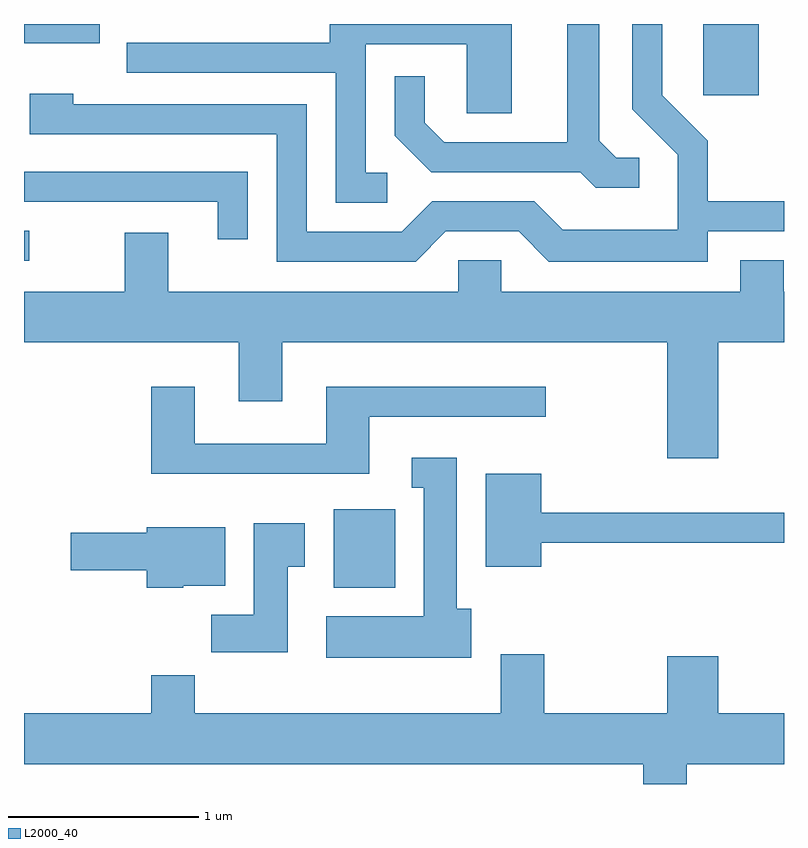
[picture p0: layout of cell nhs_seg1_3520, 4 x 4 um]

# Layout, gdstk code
import gdstk
lib = gdstk.Library(unit=1e-6, precision=1e-09)
def R(c, l, rs):  # rectangles x0, y0, x1, y1
    for r in rs: c.add(gdstk.rectangle(r[:2], r[2:], *l))
def P(c, l, *ps):  # polygons
    for p in ps: c.add(gdstk.Polygon(p, *l))
L2000_40 = (2000, 40)

nhs_seg1_3520 = lib.new_cell('nhs_seg1_3520')
R(nhs_seg1_3520, L2000_40, [(293.241,882.746,293.564,883.159), (291.611,884.466,291.638,884.624), (295.186,885.336,295.479,885.712), (291.611,885.611,292.009,885.712)])
P(nhs_seg1_3520, L2000_40, [(294.848,885.009),(294.727,885.009),(294.639,885.097),(294.639,885.712),(294.471,885.712),(294.471,885.089),(293.822,885.089),(293.719,885.192),(293.719,885.438),(293.561,885.438),(293.561,885.124),(293.754,884.931),(294.539,884.931),(294.619,884.851),(294.848,884.851)],
  [(293.523,884.929),(293.409,884.929),(293.409,885.606),(293.941,885.606),(293.941,885.241),(294.179,885.241),(294.179,885.712),(293.221,885.712),(293.221,885.614),(292.153,885.614),(292.153,885.456),(293.251,885.456),(293.251,884.771),(293.523,884.771)],
  [(293.832,884.621),(294.214,884.621),(294.374,884.461),(295.209,884.461),(295.209,884.621),(295.611,884.621),(295.611,884.779),(295.209,884.779),(295.209,885.097),(294.969,885.337),(294.969,885.712),(294.811,885.712),(294.811,885.264),(295.051,885.024),(295.051,884.629),(294.447,884.629),(294.297,884.779),(293.759,884.779),(293.599,884.619),(293.099,884.619),(293.099,885.289),(291.869,885.289),(291.869,885.344),(291.641,885.344),(291.641,885.131),(292.941,885.131),(292.941,884.461),(293.672,884.461)],
  [(292.789,884.934),(291.611,884.934),(291.611,884.776),(292.631,884.776),(292.631,884.578),(292.789,884.578)],
  [(295.264,884.036),(295.611,884.036),(295.611,884.304),(295.609,884.304),(295.609,884.469),(295.381,884.469),(295.381,884.304),(294.124,884.304),(294.124,884.469),(293.896,884.469),(293.896,884.304),(292.369,884.304),(292.369,884.614),(292.141,884.614),(292.141,884.304),(291.611,884.304),(291.611,884.036),(292.741,884.036),(292.741,883.726),(292.969,883.726),(292.969,884.036),(294.996,884.036),(294.996,883.426),(295.264,883.426)],
  [(293.429,883.646),(294.358,883.646),(294.358,883.804),(293.201,883.804),(293.201,883.504),(292.509,883.504),(292.509,883.804),(292.281,883.804),(292.281,883.346),(293.429,883.346)],
  [(293.964,882.634),(293.889,882.634),(293.889,883.429),(293.653,883.429),(293.653,883.271),(293.716,883.271),(293.716,882.594),(293.201,882.594),(293.201,882.376),(293.964,882.376)],
  [(294.334,882.981),(295.611,882.981),(295.611,883.139),(294.334,883.139),(294.334,883.344),(294.041,883.344),(294.041,882.856),(294.334,882.856)],
  [(292.999,882.856),(293.089,882.856),(293.089,883.084),(292.821,883.084),(292.821,882.604),(292.596,882.604),(292.596,882.406),(292.999,882.406)],
  [(292.45,882.756),(292.669,882.756),(292.669,883.064),(292.256,883.064),(292.256,883.034),(291.856,883.034),(291.856,882.836),(292.256,882.836),(292.256,882.746),(292.45,882.746)],
  [(294.349,882.394),(294.121,882.394),(294.121,882.084),(292.509,882.084),(292.509,882.284),(292.281,882.284),(292.281,882.084),(291.611,882.084),(291.611,881.816),(294.871,881.816),(294.871,881.712),(295.099,881.712),(295.099,881.816),(295.611,881.816),(295.611,882.084),(295.264,882.084),(295.264,882.384),(294.996,882.384),(294.996,882.084),(294.349,882.084)])

lib.write_gds('nhs_seg1_3520.gds')
